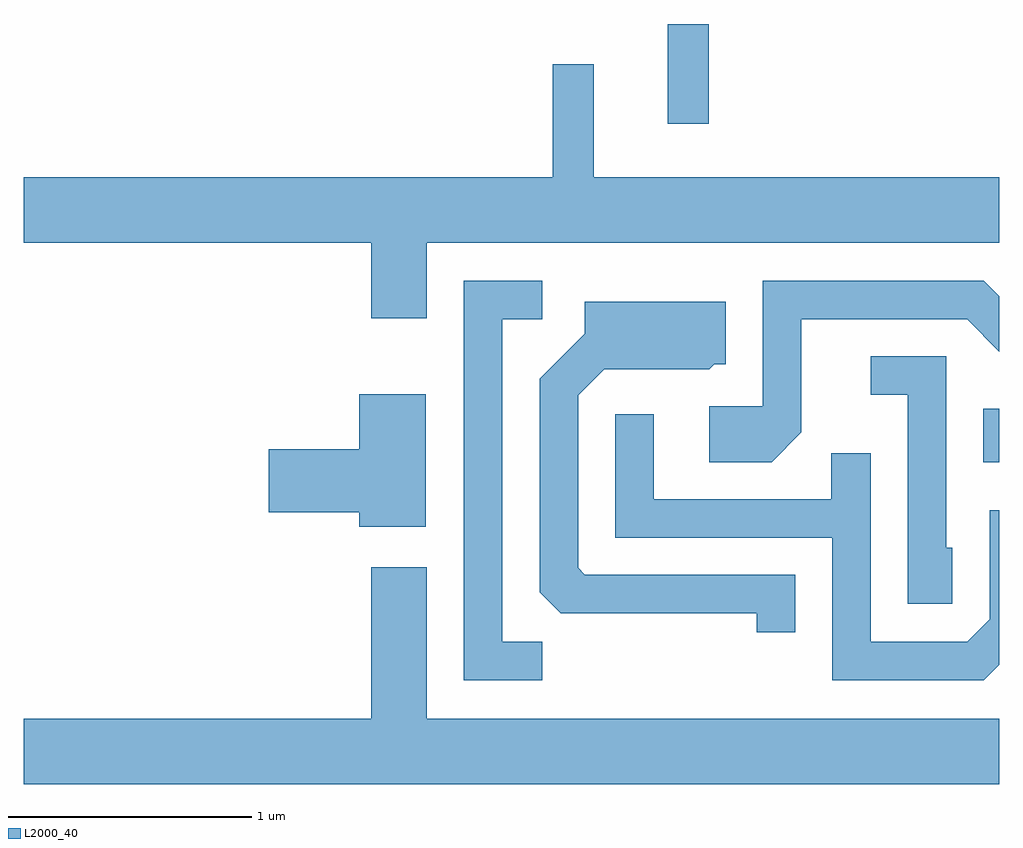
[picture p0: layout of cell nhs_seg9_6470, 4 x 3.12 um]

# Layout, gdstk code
import gdstk
lib = gdstk.Library(unit=1e-6, precision=1e-09)
def R(c, l, rs):  # rectangles x0, y0, x1, y1
    for r in rs: c.add(gdstk.rectangle(r[:2], r[2:], *l))
def P(c, l, *ps):  # polygons
    for p in ps: c.add(gdstk.Polygon(p, *l))
L2000_40 = (2000, 40)

nhs_seg9_6470 = lib.new_cell('nhs_seg9_6470')
R(nhs_seg9_6470, L2000_40, [(379.546,2048.636,379.611,2048.854), (378.251,2050.023,378.419,2050.432)])
P(nhs_seg9_6470, L2000_40, [(377.264,2049.536),(379.611,2049.536),(379.611,2049.804),(377.949,2049.804),(377.949,2050.268),(377.781,2050.268),(377.781,2049.804),(375.611,2049.804),(375.611,2049.536),(377.036,2049.536),(377.036,2049.226),(377.264,2049.226)],
  [(378.799,2048.759),(378.799,2049.221),(379.479,2049.221),(379.611,2049.089),(379.611,2049.315),(379.547,2049.379),(378.641,2049.379),(378.641,2048.864),(378.421,2048.864),(378.421,2048.636),(378.677,2048.636)],
  [(377.738,2047.899),(377.574,2047.899),(377.574,2049.221),(377.738,2049.221),(377.738,2049.379),(377.416,2049.379),(377.416,2047.741),(377.738,2047.741)],
  [(378.774,2048.174),(377.912,2048.174),(377.884,2048.202),(377.884,2048.909),(377.992,2049.016),(378.422,2049.016),(378.442,2049.036),(378.489,2049.036),(378.489,2049.294),(377.911,2049.294),(377.911,2049.162),(377.726,2048.977),(377.726,2048.102),(377.812,2048.016),(378.616,2048.016),(378.616,2047.938),(378.774,2047.938)],
  [(379.419,2048.284),(379.394,2048.284),(379.394,2049.069),(379.083,2049.069),(379.083,2048.911),(379.236,2048.911),(379.236,2048.056),(379.419,2048.056)],
  [(377.259,2048.914),(376.986,2048.914),(376.986,2048.689),(376.616,2048.689),(376.616,2048.431),(376.986,2048.431),(376.986,2048.371),(377.259,2048.371)],
  [(379.611,2047.805),(379.611,2048.439),(379.571,2048.439),(379.571,2047.992),(379.479,2047.899),(379.084,2047.899),(379.084,2048.673),(378.921,2048.673),(378.921,2048.484),(378.194,2048.484),(378.194,2048.833),(378.036,2048.833),(378.036,2048.326),(378.926,2048.326),(378.926,2047.741),(379.547,2047.741)],
  [(379.611,2047.584),(377.264,2047.584),(377.264,2048.204),(377.036,2048.204),(377.036,2047.584),(375.611,2047.584),(375.611,2047.316),(379.611,2047.316)])

lib.write_gds('nhs_seg9_6470.gds')
